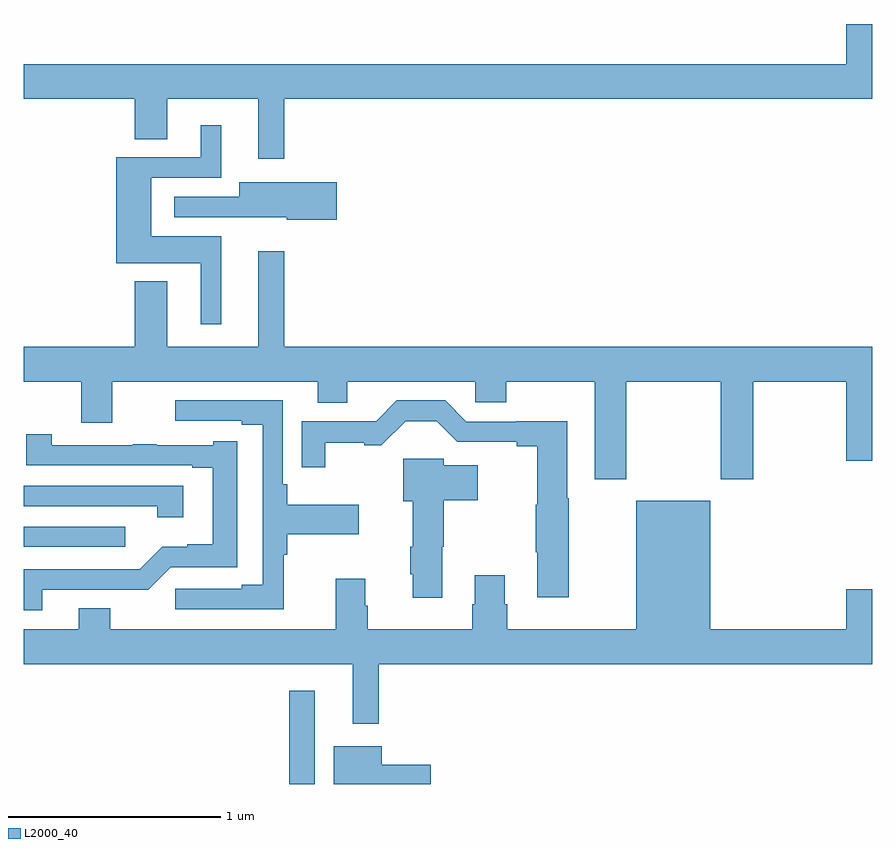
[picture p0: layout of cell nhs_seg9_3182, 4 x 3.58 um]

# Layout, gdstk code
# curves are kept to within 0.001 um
import gdstk
lib = gdstk.Library(unit=1e-6, precision=1e-09)
def R(c, l, rs):  # rectangles x0, y0, x1, y1
    for r in rs: c.add(gdstk.rectangle(r[:2], r[2:], *l))
def P(c, l, *ps):  # polygons
    for p in ps: c.add(gdstk.Polygon(p, *l))
L2000_40 = (2000, 40)

nhs_seg9_3182 = lib.new_cell('nhs_seg9_3182')
R(nhs_seg9_3182, L2000_40, [(294.252,1218.5,294.373,1218.94), (293,1219.617,293.479,1219.713)])
P(nhs_seg9_3182, L2000_40, [(294.229,1221.728),(297,1221.728),(297,1222.081),(296.876,1222.081),(296.876,1221.892),(293,1221.892),(293,1221.728),(293.525,1221.728),(293.525,1221.538),(293.677,1221.538),(293.677,1221.728),(294.107,1221.728),(294.107,1221.447),(294.229,1221.447)],
  [(293.932,1221.082),(293.602,1221.082),(293.602,1221.357),(293.932,1221.357),(293.932,1221.604),(293.834,1221.604),(293.834,1221.453),(293.438,1221.453),(293.438,1220.954),(293.834,1220.954),(293.834,1220.667),(293.932,1220.667)],
  [(294.475,1221.336),(294.017,1221.336),(294.017,1221.267),(293.709,1221.267),(293.709,1221.171),(294.021,1221.171),(294.021,1221.17),(294.24,1221.17),(294.24,1221.158),(294.475,1221.158)],
  [(295.839,1220.396),(296.284,1220.396),(296.284,1219.935),(296.439,1219.935),(296.439,1220.396),(296.876,1220.396),(296.876,1220.022),(297,1220.022),(297,1220.56),(294.229,1220.56),(294.229,1221.01),(294.107,1221.01),(294.107,1220.56),(293.677,1220.56),(293.677,1220.869),(293.525,1220.869),(293.525,1220.56),(293,1220.56),(293,1220.396),(293.272,1220.396),(293.272,1220.202),(293.419,1220.202),(293.419,1220.396),(294.386,1220.396),(294.386,1220.297),(294.526,1220.297),(294.526,1220.396),(295.128,1220.396),(295.128,1220.298),(295.275,1220.298),(295.275,1220.396),(295.691,1220.396),(295.691,1219.935),(295.839,1219.935)],
  [(294.225,1219.58),(294.242,1219.58),(294.242,1219.676),(294.58,1219.676),(294.58,1219.816),(294.242,1219.816),(294.242,1219.912),(294.222,1219.912),(294.222,1220.307),(293.715,1220.307),(293.715,1220.211),(294.029,1220.211),(294.029,1220.193),(294.126,1220.193),(294.126,1219.439),(294.029,1219.439),(294.029,1219.419),(293.715,1219.419),(293.715,1219.323),(294.225,1219.323)],
  [(295.569,1219.847),(295.561,1219.847),(295.561,1220.21),(295.325,1220.21),(295.325,1220.208),(295.086,1220.208),(294.987,1220.307),(294.759,1220.307),(294.662,1220.21),(294.312,1220.21),(294.312,1219.992),(294.421,1219.992),(294.421,1220.107),(294.605,1220.107),(294.605,1220.095),(294.686,1220.095),(294.801,1220.21),(294.946,1220.21),(295.044,1220.112),(295.325,1220.112),(295.325,1220.092),(295.421,1220.092),(295.421,1219.815),(295.414,1219.815),(295.414,1219.592),(295.421,1219.592),(295.421,1219.38),(295.569,1219.38)],
  [(293.089,1219.416),(293.588,1219.415),(293.694,1219.521),(294.007,1219.521),(294.007,1220.116),(293.895,1220.116),(293.895,1220.097),(293.627,1220.097),(293.627,1220.102),(293.515,1220.102),(293.515,1220.097),(293.133,1220.097),(293.133,1220.149),(293.013,1220.149),(293.013,1220.001),(293.795,1220.001),(293.795,1219.989),(293.891,1219.989),(293.891,1219.63),(293.772,1219.63),(293.772,1219.618),(293.653,1219.618),(293.547,1219.512),(293,1219.512),(293,1219.319),(293.089,1219.319)],
  [(294.973,1219.619),(294.981,1219.619),(294.981,1219.837),(295.141,1219.837),(295.141,1220.002),(294.981,1220.002),(294.981,1220.032),(294.788,1220.032),(294.788,1219.832),(294.833,1219.832),(294.833,1219.619),(294.821,1219.619),(294.821,1219.489),(294.833,1219.489),(294.833,1219.377),(294.973,1219.377)],
  [(293.752,1219.905),(293,1219.905),(293,1219.809),(293.631,1219.809),(293.631,1219.758),(293.752,1219.758)],
  [(294.673,1219.064),(297,1219.064),(297,1219.417),(296.876,1219.417),(296.876,1219.228),(296.236,1219.228),(296.236,1219.834),(295.886,1219.834),(295.886,1219.228),(295.28,1219.228),(295.28,1219.347),(295.267,1219.347),(295.267,1219.483),(295.127,1219.483),(295.127,1219.347),(295.115,1219.347),(295.115,1219.228),(294.623,1219.228),(294.623,1219.34),(294.61,1219.34),(294.61,1219.468),(294.47,1219.468),(294.47,1219.228),(293.409,1219.228),(293.409,1219.327),(293.261,1219.327),(293.261,1219.228),(293,1219.228),(293,1219.064),(294.551,1219.064),(294.551,1218.783),(294.673,1218.783)],
  [(294.919,1218.591),(294.688,1218.591),(294.688,1218.679),(294.461,1218.679),(294.461,1218.5),(294.919,1218.5)])

lib.write_gds('nhs_seg9_3182.gds')
